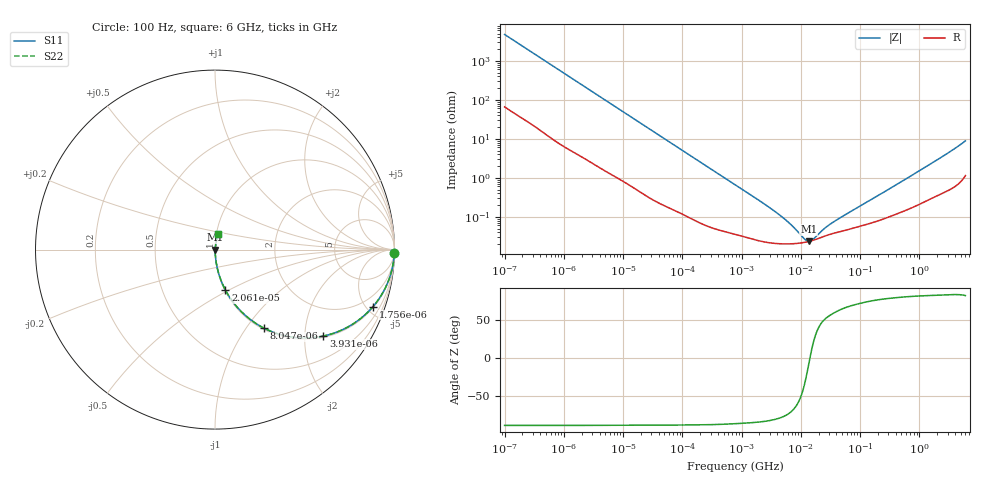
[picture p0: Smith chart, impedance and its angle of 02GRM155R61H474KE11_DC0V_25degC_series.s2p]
!Murata Part Number: GRM155R61H474KE11
!These Parameters are Measured in Series Mode Connection
!  o--ll--o
!Port1  Port2
!  o------o
!Operation Temp=25[degC], DC Bias Voltage=0[V]
!Freq. Start=100[Hz] Stop=6[GHz], 401[Steps]
!Data Generated on Nov 6, 2018
# Hz S RI R 50
!Freq.(Hz) S11(Real) S11(Imag) S21(Real) S21(Imag) S12(Real) S12(Imag) S22(Real) S22(Imag)
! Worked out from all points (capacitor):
!   401 points, 100 Hz to 6 GHz, reference 50 ohm
!   read as one part in series: C = 336 nF near 109.4 Hz
!   lowest |Z| = 23.6 mohm at 13.6 MHz (marker M1)
!   series resonance near 14.26 MHz, so ESL is about 370 pH
!   S11 on the Smith chart (normalised r, x): 100 Hz: 2, -94; 1.756 kHz: 1.08, -5.51; 3.931 kHz: 1.04, -2.48; 8.047 kHz: 1.02, -1.22; 20.61 kHz: 1.01, -0.48; 6 GHz: 1.02, +0.18
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100  0.9993 -0.0211  0.000743 0.0211  0.000743 0.0211  0.9993 -0.0211
524.1782  0.9868 -0.1077  0.0132 0.1077  0.0132 0.1077  0.9868 -0.1077
1073.013  0.9503 -0.2109  0.0497 0.2109  0.0497 0.2109  0.9503 -0.2109
1755.918  0.8802 -0.3178  0.1198 0.3178  0.1198 0.3178  0.8802 -0.3178
2008.354  0.8498 -0.3502  0.1502 0.3502  0.1502 0.3502  0.8498 -0.3502
3931.163  0.6045 -0.4816  0.3955 0.4816  0.3955 0.4816  0.6045 -0.4816
5624.501  0.4317 -0.4877  0.5683 0.4877  0.5683 0.4877  0.4317 -0.4877
8047.242  0.2744 -0.4382  0.7256 0.4382  0.7256 0.4382  0.2744 -0.4382
12592.18  0.1372 -0.3358  0.8628 0.3358  0.8628 0.3358  0.1372 -0.3358
20606.3  0.0581 -0.2257  0.9419 0.2257  0.9419 0.2257  0.0581 -0.2257
40334.87  0.0172 -0.1213  0.9828 0.1213  0.9828 0.1213  0.0172 -0.1213
129199.4  0.00249 -0.039  0.9975 0.039  0.9975 0.039  0.00249 -0.039
774596.7  0.000401 -0.00667  0.9996 0.00667  0.9996 0.00667  0.000401 -0.00667
4246196  0.000206 -0.00114  0.9998 0.00114  0.9998 0.00114  0.000206 -0.00114
6948629  0.000204 -0.00058  0.9998 0.00058  0.9998 0.00058  0.000204 -0.00058
1.137099e7  0.00022 -0.000166  0.9998 0.000166  0.9998 0.000166  0.00022 -0.000166
1.360128e7  0.000233 -3.39e-05  0.9998 3.39e-05  0.9998 3.39e-05  0.000233 -3.39e-05
1.555665e7  0.000246 6.22e-05  0.9998 -6.22e-05  0.9998 -6.22e-05  0.000246 6.22e-05
3.330331e7  0.000367 0.000586  0.9996 -0.000586  0.9996 -0.000586  0.000367 0.000586
3.124326e8  0.00103 0.00511  0.999 -0.00511  0.999 -0.00511  0.00103 0.00511
1.95892e9  0.00418 0.0279  0.9958 -0.0279  0.9958 -0.0279  0.00418 0.0279
6e9  0.0186 0.0851  0.9814 -0.0851  0.9814 -0.0851  0.0186 0.0851
